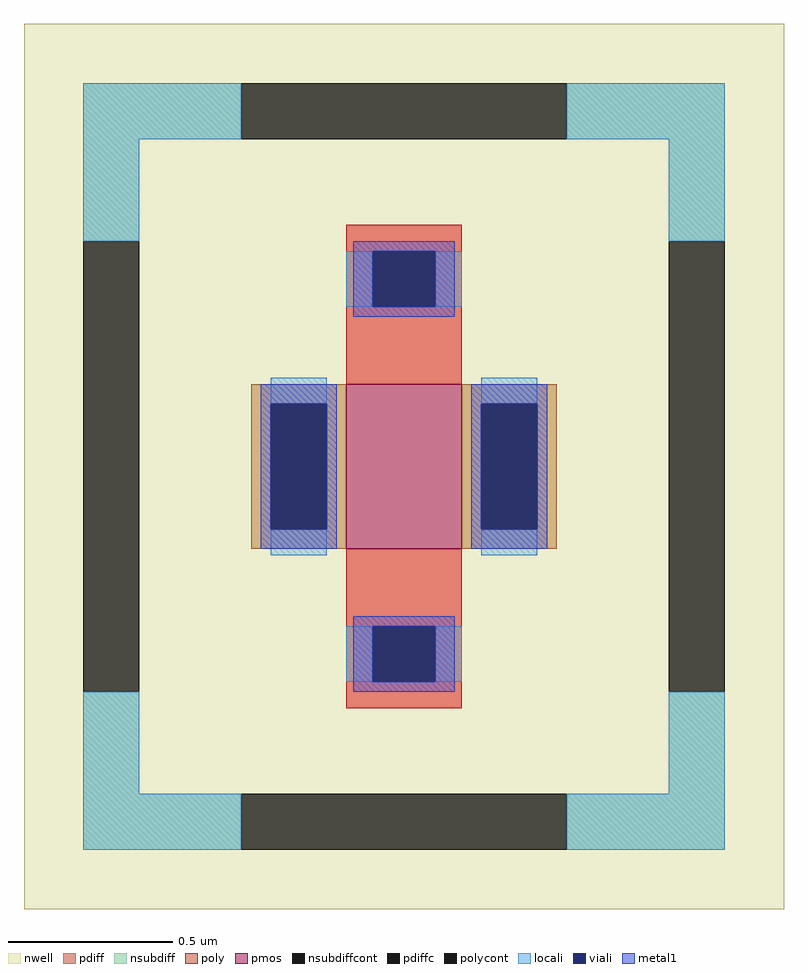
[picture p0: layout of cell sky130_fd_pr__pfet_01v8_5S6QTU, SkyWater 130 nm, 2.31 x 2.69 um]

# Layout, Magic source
magic
tech sky130A
magscale 1 2
<< nwell >>
rect -231 -269 231 269
<< pmos >>
rect -35 -50 35 50
<< pdiff >>
rect -93 38 -35 50
rect -93 -38 -81 38
rect -47 -38 -35 38
rect -93 -50 -35 -38
rect 35 38 93 50
rect 35 -38 47 38
rect 81 -38 93 38
rect 35 -50 93 -38
<< pdiffc >>
rect -81 -38 -47 38
rect 47 -38 81 38
<< nsubdiff >>
rect -195 199 -99 233
rect 99 199 195 233
rect -195 137 -161 199
rect 161 137 195 199
rect -195 -199 -161 -137
rect 161 -199 195 -137
rect -195 -233 -99 -199
rect 99 -233 195 -199
<< nsubdiffcont >>
rect -99 199 99 233
rect -195 -137 -161 137
rect 161 -137 195 137
rect -99 -233 99 -199
<< poly >>
rect -35 131 35 147
rect -35 97 -19 131
rect 19 97 35 131
rect -35 50 35 97
rect -35 -97 35 -50
rect -35 -131 -19 -97
rect 19 -131 35 -97
rect -35 -147 35 -131
<< polycont >>
rect -19 97 19 131
rect -19 -131 19 -97
<< locali >>
rect -195 199 -99 233
rect 99 199 195 233
rect -195 137 -161 199
rect 161 137 195 199
rect -35 97 -19 131
rect 19 97 35 131
rect -81 38 -47 54
rect -81 -54 -47 -38
rect 47 38 81 54
rect 47 -54 81 -38
rect -35 -131 -19 -97
rect 19 -131 35 -97
rect -195 -199 -161 -137
rect 161 -199 195 -137
rect -195 -233 -99 -199
rect 99 -233 195 -199
<< viali >>
rect -19 97 19 131
rect -81 -38 -47 38
rect 47 -38 81 38
rect -19 -131 19 -97
<< metal1 >>
rect -31 131 31 137
rect -31 97 -19 131
rect 19 97 31 131
rect -31 91 31 97
rect -87 38 -41 50
rect -87 -38 -81 38
rect -47 -38 -41 38
rect -87 -50 -41 -38
rect 41 38 87 50
rect 41 -38 47 38
rect 81 -38 87 38
rect 41 -50 87 -38
rect -31 -97 31 -91
rect -31 -131 -19 -97
rect 19 -131 31 -97
rect -31 -137 31 -131
<< properties >>
string FIXED_BBOX -178 -216 178 216
string gencell sky130_fd_pr__pfet_01v8
string library sky130
string parameters w 0.5 l 0.35 m 1 nf 1 diffcov 100 polycov 100 guard 1 glc 1 grc 1 gtc 1 gbc 1 tbcov 100 rlcov 100 topc 1 botc 1 poverlap 0 doverlap 1 lmin 0.15 wmin 0.42 class mosfet compatible {sky130_fd_pr__pfet_01v8  sky130_fd_pr__pfet_01v8_lvt sky130_fd_pr__pfet_01v8_hvt  sky130_fd_pr__pfet_g5v0d10v5} full_metal 1 viasrc 100 viadrn 100 viagate 100 viagb 0 viagr 0 viagl 0 viagt 0 ad {int((nf+1)/2) * W/nf * 0.29} as {int((nf+2)/2) * W/nf * 0.29} pd {2*int((nf+1)/2) * (W/nf + 0.29)} ps {2*int((nf+2)/2) * (W/nf + 0.29)} nrd {0.29 / W} nrs {0.29 / W} sa 0 sb 0 sd 0 mult 1
<< end >>
